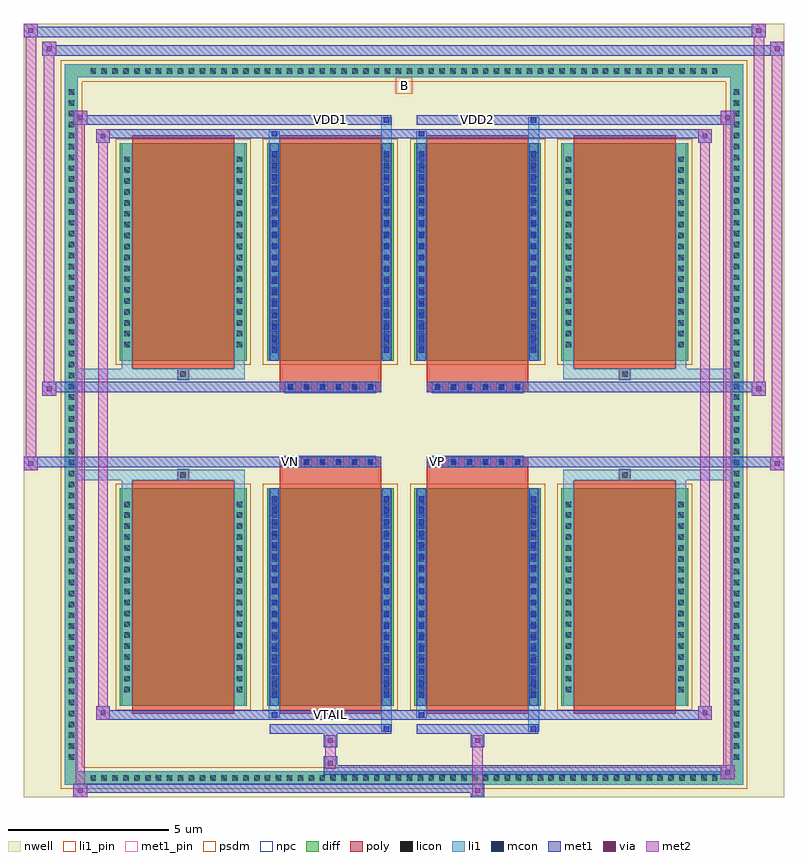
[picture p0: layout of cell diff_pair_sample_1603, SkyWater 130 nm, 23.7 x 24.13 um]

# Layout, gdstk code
import gdstk
lib = gdstk.Library(unit=1e-6, precision=5e-09)
def R(c, l, rs):  # rectangles x0, y0, x1, y1
    for r in rs: c.add(gdstk.rectangle(r[:2], r[2:], *l))
def A(c, l, x, y, w, h, nx, ny, dx, dy):  # array of equal rectangles
    R(c, l, [(x+i*dx, y+j*dy, x+i*dx+w, y+j*dy+h) for i in range(nx) for j in range(ny)])
def P(c, l, *ps):  # polygons
    for p in ps: c.add(gdstk.Polygon(p, *l))
nwell = (64, 20)
diff = (65, 20)
poly = (66, 20)
licon = (66, 44)
li1_pin = (67, 16)
li1 = (67, 20)
mcon = (67, 44)
met1_pin = (68, 16)
met1 = (68, 20)
via = (68, 44)
met2 = (69, 20)
psdm = (94, 20)
npc = (95, 20)

diff_pair_sample_1603 = lib.new_cell('diff_pair_sample_1603')
R(diff_pair_sample_1603, nwell, [(-11.85,-11.63,11.85,12.5), (-9.17,-9.82,-0.01,-0.8), (0.01,-9.82,9.17,-0.8), (-9.17,0.8,-0.01,9.82), (0.01,0.8,9.17,9.82)])
A(diff_pair_sample_1603, diff, -9.895, -11.23, 0.41, 0.41, 58, 2, 0.34, 22.05)
A(diff_pair_sample_1603, diff, -10.58, -10.575, 0.41, 0.41, 1, 62, 0, 0.34)
A(diff_pair_sample_1603, diff, 10.17, -10.575, 0.41, 0.41, 1, 62, 0, 0.34)
A(diff_pair_sample_1603, diff, -8.86, -8.775, 3.95, 6.79, 4, 2, 4.59, 10.76)
R(diff_pair_sample_1603, diff, [(-9.895,-11.23,9.895,-10.82), (-10.58,-10.575,-10.17,10.575), (10.17,-10.575,10.58,10.575), (-9.895,10.82,9.895,11.23)])
P(diff_pair_sample_1603, diff, [(10.58,11.23),(-10.58,11.23),(-10.58,-10.82),(-10.17,-10.82),(-10.17,10.82),(10.17,10.82),(10.17,-10.82),(-10.17,-10.82),(-10.58,-10.82),(-10.58,-11.23),(10.58,-11.23)])
A(diff_pair_sample_1603, poly, -8.47, -9.025, 3.17, 7.29, 4, 2, 4.59, 10.76)
A(diff_pair_sample_1603, poly, -3.71, -1.33, 0.33, 0.33, 6, 2, 0.5, 2.33)
A(diff_pair_sample_1603, poly, 0.88, -1.33, 0.33, 0.33, 6, 2, 0.5, 2.33)
R(diff_pair_sample_1603, poly, [(-7.05,-1.735,-6.72,-1.405), (-7.05,-1.735,-6.72,-1.405), (-3.88,-1.735,-0.71,-1.33), (0.71,-1.735,3.88,-1.33), (6.72,-1.735,7.05,-1.405), (6.72,-1.735,7.05,-1.405), (-3.88,-1.33,-0.71,-1), (0.71,-1.33,3.88,-1), (-3.88,1,-0.71,1.33), (0.71,1,3.88,1.33), (-3.88,1.33,-0.71,1.735), (0.71,1.33,3.88,1.735), (-7.05,1.405,-6.72,1.735), (-7.05,1.405,-6.72,1.735), (6.72,1.405,7.05,1.735), (6.72,1.405,7.05,1.735)])
A(diff_pair_sample_1603, licon, -9.775, -11.11, 0.17, 0.17, 58, 2, 0.34, 22.05)
A(diff_pair_sample_1603, licon, -10.46, -10.455, 0.17, 0.17, 1, 62, 0, 0.34)
A(diff_pair_sample_1603, licon, 10.29, -10.455, 0.17, 0.17, 1, 62, 0, 0.34)
A(diff_pair_sample_1603, licon, -8.72, -8.355, 0.17, 0.17, 1, 18, 0, 0.34)
A(diff_pair_sample_1603, licon, -5.22, -8.355, 0.17, 0.17, 1, 18, 0, 0.34)
A(diff_pair_sample_1603, licon, -4.13, -8.355, 0.17, 0.17, 1, 18, 0, 0.34)
A(diff_pair_sample_1603, licon, -0.63, -8.355, 0.17, 0.17, 1, 18, 0, 0.34)
A(diff_pair_sample_1603, licon, 0.46, -8.355, 0.17, 0.17, 1, 18, 0, 0.34)
A(diff_pair_sample_1603, licon, 3.96, -8.355, 0.17, 0.17, 1, 18, 0, 0.34)
A(diff_pair_sample_1603, licon, 5.05, -8.355, 0.17, 0.17, 1, 18, 0, 0.34)
A(diff_pair_sample_1603, licon, 8.55, -8.355, 0.17, 0.17, 1, 18, 0, 0.34)
A(diff_pair_sample_1603, licon, -3.63, -1.25, 0.17, 0.17, 6, 2, 0.5, 2.33)
A(diff_pair_sample_1603, licon, 0.96, -1.25, 0.17, 0.17, 6, 2, 0.5, 2.33)
A(diff_pair_sample_1603, licon, -8.72, 2.405, 0.17, 0.17, 1, 18, 0, 0.34)
A(diff_pair_sample_1603, licon, -5.22, 2.405, 0.17, 0.17, 1, 18, 0, 0.34)
A(diff_pair_sample_1603, licon, -4.13, 2.405, 0.17, 0.17, 1, 18, 0, 0.34)
A(diff_pair_sample_1603, licon, -0.63, 2.405, 0.17, 0.17, 1, 18, 0, 0.34)
A(diff_pair_sample_1603, licon, 0.46, 2.405, 0.17, 0.17, 1, 18, 0, 0.34)
A(diff_pair_sample_1603, licon, 3.96, 2.405, 0.17, 0.17, 1, 18, 0, 0.34)
A(diff_pair_sample_1603, licon, 5.05, 2.405, 0.17, 0.17, 1, 18, 0, 0.34)
A(diff_pair_sample_1603, licon, 8.55, 2.405, 0.17, 0.17, 1, 18, 0, 0.34)
R(diff_pair_sample_1603, licon, [(-6.97,-1.655,-6.8,-1.485), (6.8,-1.655,6.97,-1.485), (-6.97,1.485,-6.8,1.655), (6.8,1.485,6.97,1.655)])
R(diff_pair_sample_1603, li1_pin, [(-0.25,10.32,0.25,10.82)])
A(diff_pair_sample_1603, li1, -9.855, -11.19, 0.33, 0.33, 58, 2, 0.34, 22.05)
A(diff_pair_sample_1603, li1, -10.54, -10.535, 0.33, 0.33, 1, 62, 0, 0.34)
A(diff_pair_sample_1603, li1, 10.21, -10.535, 0.33, 0.33, 1, 62, 0, 0.34)
A(diff_pair_sample_1603, li1, -4.13, -8.525, 0.17, 0.17, 1, 18, 0, 0.36)
A(diff_pair_sample_1603, li1, -0.63, -8.525, 0.17, 0.17, 1, 18, 0, 0.36)
A(diff_pair_sample_1603, li1, 0.46, -8.525, 0.17, 0.17, 1, 18, 0, 0.36)
A(diff_pair_sample_1603, li1, 3.96, -8.525, 0.17, 0.17, 1, 18, 0, 0.36)
A(diff_pair_sample_1603, li1, -8.8, -8.435, 0.33, 0.33, 1, 18, 0, 0.34)
A(diff_pair_sample_1603, li1, -5.3, -8.435, 0.33, 0.33, 1, 18, 0, 0.34)
A(diff_pair_sample_1603, li1, -4.21, -8.435, 0.33, 0.33, 1, 18, 0, 0.34)
A(diff_pair_sample_1603, li1, -0.71, -8.435, 0.33, 0.33, 1, 18, 0, 0.34)
A(diff_pair_sample_1603, li1, 0.38, -8.435, 0.33, 0.33, 1, 18, 0, 0.34)
A(diff_pair_sample_1603, li1, 3.88, -8.435, 0.33, 0.33, 1, 18, 0, 0.34)
A(diff_pair_sample_1603, li1, 4.97, -8.435, 0.33, 0.33, 1, 18, 0, 0.34)
A(diff_pair_sample_1603, li1, 8.47, -8.435, 0.33, 0.33, 1, 18, 0, 0.34)
A(diff_pair_sample_1603, li1, -3.71, -1.33, 0.33, 0.33, 6, 2, 0.5, 2.33)
A(diff_pair_sample_1603, li1, 0.88, -1.33, 0.33, 0.33, 6, 2, 0.5, 2.33)
A(diff_pair_sample_1603, li1, -4.13, 2.235, 0.17, 0.17, 1, 18, 0, 0.36)
A(diff_pair_sample_1603, li1, -0.63, 2.235, 0.17, 0.17, 1, 18, 0, 0.36)
A(diff_pair_sample_1603, li1, 0.46, 2.235, 0.17, 0.17, 1, 18, 0, 0.36)
A(diff_pair_sample_1603, li1, 3.96, 2.235, 0.17, 0.17, 1, 18, 0, 0.36)
A(diff_pair_sample_1603, li1, -8.8, 2.325, 0.33, 0.33, 1, 18, 0, 0.34)
A(diff_pair_sample_1603, li1, -5.3, 2.325, 0.33, 0.33, 1, 18, 0, 0.34)
A(diff_pair_sample_1603, li1, -4.21, 2.325, 0.33, 0.33, 1, 18, 0, 0.34)
A(diff_pair_sample_1603, li1, -0.71, 2.325, 0.33, 0.33, 1, 18, 0, 0.34)
A(diff_pair_sample_1603, li1, 0.38, 2.325, 0.33, 0.33, 1, 18, 0, 0.34)
A(diff_pair_sample_1603, li1, 3.88, 2.325, 0.33, 0.33, 1, 18, 0, 0.34)
A(diff_pair_sample_1603, li1, 4.97, 2.325, 0.33, 0.33, 1, 18, 0, 0.34)
A(diff_pair_sample_1603, li1, 8.47, 2.325, 0.33, 0.33, 1, 18, 0, 0.34)
R(diff_pair_sample_1603, li1, [(-10.58,-11.23,-10.17,-10.82), (-10.58,-11.23,-10.17,-10.82), (-10.17,-11.23,10.17,-10.82), (10.17,-11.23,10.58,-10.82), (10.17,-11.23,10.58,-10.82), (-10.58,-10.82,-10.17,10.82), (10.17,-10.82,10.58,10.82), (-0.71,-9.58,-0.38,-8.775), (-0.63,-9.58,-0.46,-9.41), (3.88,-9.58,4.21,-8.775), (3.96,-9.58,4.13,-9.41), (-4.21,-9.15,-3.88,-8.775), (-4.13,-9.15,-3.96,-8.98), (0.38,-9.15,0.71,-8.775), (0.46,-9.15,0.63,-8.98), (-8.8,-8.775,-8.47,-1.985), (-5.3,-8.775,-4.97,-1.985), (-4.21,-8.775,-3.88,-1.985), (-0.71,-8.775,-0.38,-1.985), (0.38,-8.775,0.71,-1.985), (3.88,-8.775,4.21,-1.985), (4.97,-8.775,5.3,-1.985), (8.47,-8.775,8.8,-1.985), (-4.13,-8.525,-3.96,-2.235), (-0.63,-8.525,-0.46,-2.235), (0.46,-8.525,0.63,-2.235), (3.96,-8.525,4.13,-2.235), (-8.8,-1.985,-8.47,-1.405), (-5.3,-1.985,-4.97,-1.405), (4.97,-1.985,5.3,-1.405), (8.47,-1.985,8.8,-1.405), (-10.58,-1.735,-7.05,-1.405), (-8.8,-1.735,-7.05,-1.405), (-7.05,-1.735,-6.72,-1.405), (-6.72,-1.735,-4.97,-1.405), (4.97,-1.735,6.72,-1.405), (6.72,-1.735,7.05,-1.405), (6.72,-1.735,10.58,-1.405), (7.05,-1.735,8.8,-1.405), (-10.58,1.405,-7.05,1.735), (-8.8,1.405,-7.05,1.735), (-8.8,1.405,-8.47,1.985), (-7.05,1.405,-6.72,1.735), (-6.72,1.405,-4.97,1.735), (-5.3,1.405,-4.97,1.985), (4.97,1.405,6.72,1.735), (4.97,1.405,5.3,1.985), (6.72,1.405,7.05,1.735), (6.72,1.405,10.58,1.735), (7.05,1.405,8.8,1.735), (8.47,1.405,8.8,1.985), (-8.8,1.985,-8.47,8.775), (-5.3,1.985,-4.97,8.775), (-4.21,1.985,-3.88,8.775), (-0.71,1.985,-0.38,8.775), (0.38,1.985,0.71,8.775), (3.88,1.985,4.21,8.775), (4.97,1.985,5.3,8.775), (8.47,1.985,8.8,8.775), (-4.13,2.235,-3.96,8.525), (-0.63,2.235,-0.46,8.525), (0.46,2.235,0.63,8.525), (3.96,2.235,4.13,8.525), (-4.21,8.775,-3.88,9.15), (-0.71,8.775,-0.38,9.58), (0.38,8.775,0.71,9.15), (3.88,8.775,4.21,9.58), (-4.13,8.98,-3.96,9.15), (0.46,8.98,0.63,9.15), (-0.63,9.41,-0.46,9.58), (3.96,9.41,4.13,9.58), (-10.58,10.82,-10.17,11.23), (-10.58,10.82,-10.17,11.23), (-10.17,10.82,10.17,11.23), (10.17,10.82,10.58,11.23), (10.17,10.82,10.58,11.23)])
A(diff_pair_sample_1603, mcon, -4.13, -8.525, 0.17, 0.17, 1, 18, 0, 0.36)
A(diff_pair_sample_1603, mcon, -0.63, -8.525, 0.17, 0.17, 1, 18, 0, 0.36)
A(diff_pair_sample_1603, mcon, 0.46, -8.525, 0.17, 0.17, 1, 18, 0, 0.36)
A(diff_pair_sample_1603, mcon, 3.96, -8.525, 0.17, 0.17, 1, 18, 0, 0.36)
A(diff_pair_sample_1603, mcon, -3.63, -1.25, 0.17, 0.17, 6, 2, 0.5, 2.33)
A(diff_pair_sample_1603, mcon, 0.96, -1.25, 0.17, 0.17, 6, 2, 0.5, 2.33)
A(diff_pair_sample_1603, mcon, -4.13, 2.235, 0.17, 0.17, 1, 18, 0, 0.36)
A(diff_pair_sample_1603, mcon, -0.63, 2.235, 0.17, 0.17, 1, 18, 0, 0.36)
A(diff_pair_sample_1603, mcon, 0.46, 2.235, 0.17, 0.17, 1, 18, 0, 0.36)
A(diff_pair_sample_1603, mcon, 3.96, 2.235, 0.17, 0.17, 1, 18, 0, 0.36)
R(diff_pair_sample_1603, mcon, [(-0.63,-9.58,-0.46,-9.41), (3.96,-9.58,4.13,-9.41), (-4.13,-9.15,-3.96,-8.98), (0.46,-9.15,0.63,-8.98), (-4.13,8.98,-3.96,9.15), (0.46,8.98,0.63,9.15), (-0.63,9.41,-0.46,9.58), (3.96,9.41,4.13,9.58)])
R(diff_pair_sample_1603, met1_pin, [(-2.43,-9.19,-2.16,-8.92), (-3.68,-1.29,-3.41,-1.02), (0.91,-1.29,1.18,-1.02), (-2.43,9.37,-2.16,9.64), (2.16,9.37,2.43,9.64)])
A(diff_pair_sample_1603, met1, -4.19, -8.585, 0.29, 0.29, 1, 18, 0, 0.36)
A(diff_pair_sample_1603, met1, -0.69, -8.585, 0.29, 0.29, 1, 18, 0, 0.36)
A(diff_pair_sample_1603, met1, 0.4, -8.585, 0.29, 0.29, 1, 18, 0, 0.36)
A(diff_pair_sample_1603, met1, 3.9, -8.585, 0.29, 0.29, 1, 18, 0, 0.36)
A(diff_pair_sample_1603, met1, -3.69, -1.31, 0.29, 0.29, 6, 2, 0.5, 2.33)
A(diff_pair_sample_1603, met1, 0.9, -1.31, 0.29, 0.29, 6, 2, 0.5, 2.33)
A(diff_pair_sample_1603, met1, -4.19, 2.175, 0.29, 0.29, 1, 18, 0, 0.36)
A(diff_pair_sample_1603, met1, -0.69, 2.175, 0.29, 0.29, 1, 18, 0, 0.36)
A(diff_pair_sample_1603, met1, 0.4, 2.175, 0.29, 0.29, 1, 18, 0, 0.36)
A(diff_pair_sample_1603, met1, 3.9, 2.175, 0.29, 0.29, 1, 18, 0, 0.36)
R(diff_pair_sample_1603, met1, [(-10.31,-11.63,-9.88,-11.2), (2.08,-11.63,2.51,-11.2), (-10.31,-11.49,2.51,-11.2), (9.88,-11.06,10.31,-10.63), (-2.51,-10.92,10.31,-10.63), (-2.51,-10.78,-2.08,-10.35), (-2.51,-10.07,-2.08,-9.64), (2.08,-10.07,2.51,-9.64), (-4.19,-9.64,-0.4,-9.35), (-0.69,-9.64,-0.4,-9.35), (0.4,-9.64,4.19,-9.35), (3.9,-9.64,4.19,-9.35), (-9.6,-9.21,-9.17,-8.78), (-9.6,-9.21,-4.19,-8.92), (-4.19,-9.21,-3.9,-8.92), (-4.19,-9.21,-0.4,-8.92), (-0.4,-9.21,0.4,-8.92), (0.4,-9.21,0.69,-8.92), (0.4,-9.21,4.19,-8.92), (4.19,-9.21,9.6,-8.92), (9.17,-9.21,9.6,-8.78), (-4.19,-8.775,-3.9,-1.985), (-0.69,-8.775,-0.4,-1.985), (0.4,-8.775,0.69,-1.985), (3.9,-8.775,4.19,-1.985), (-11.85,-1.43,-11.42,-1), (11.42,-1.43,11.85,-1), (-11.85,-1.33,-0.71,-1), (-3.88,-1.33,-0.71,-1), (0.71,-1.33,3.88,-1), (0.71,-1.33,11.85,-1), (-11.28,0.9,-10.85,1.33), (10.85,0.9,11.28,1.33), (-11.28,1,-3.88,1.33), (-3.88,1,-0.71,1.33), (0.71,1,3.88,1.33), (3.88,1,11.28,1.33), (-4.19,1.985,-3.9,8.775), (-0.69,1.985,-0.4,8.775), (0.4,1.985,0.69,8.775), (3.9,1.985,4.19,8.775), (-9.6,8.78,-9.17,9.21), (9.17,8.78,9.6,9.21), (-9.6,8.92,-4.19,9.21), (-4.19,8.92,-3.9,9.21), (-4.19,8.92,-0.4,9.21), (-0.4,8.92,0.4,9.21), (0.4,8.92,0.69,9.21), (0.4,8.92,4.19,9.21), (4.19,8.92,9.6,9.21), (-10.31,9.35,-9.88,9.78), (-10.31,9.35,-4.19,9.64), (-4.19,9.35,-0.4,9.64), (-0.69,9.35,-0.4,9.64), (0.4,9.35,4.19,9.64), (3.9,9.35,4.19,9.64), (4.19,9.35,10.31,9.64), (9.88,9.35,10.31,9.78), (-11.28,11.5,-10.85,11.93), (-11.28,11.5,-9.17,11.83), (-9.17,11.5,9.17,11.83), (9.17,11.5,11.85,11.83), (11.42,11.5,11.85,11.93), (-11.85,12.07,-11.42,12.5), (-11.85,12.07,-9.17,12.4), (-9.17,12.07,9.17,12.4), (9.17,12.07,11.28,12.4), (10.85,12.07,11.28,12.5)])
R(diff_pair_sample_1603, via, [(-10.17,-11.49,-10.02,-11.34), (2.22,-11.49,2.37,-11.34), (10.02,-10.92,10.17,-10.77), (-2.37,-10.64,-2.22,-10.49), (-2.37,-9.93,-2.22,-9.78), (2.22,-9.93,2.37,-9.78), (-9.46,-9.07,-9.31,-8.92), (9.31,-9.07,9.46,-8.92), (-11.71,-1.29,-11.56,-1.14), (11.56,-1.29,11.71,-1.14), (-11.14,1.04,-10.99,1.19), (10.99,1.04,11.14,1.19), (-9.46,8.92,-9.31,9.07), (9.31,8.92,9.46,9.07), (-10.17,9.49,-10.02,9.64), (10.02,9.49,10.17,9.64), (-11.14,11.64,-10.99,11.79), (11.56,11.64,11.71,11.79), (-11.71,12.21,-11.56,12.36), (10.99,12.21,11.14,12.36)])
R(diff_pair_sample_1603, met2, [(-10.31,-11.63,-9.88,-11.2), (-10.24,-11.63,-9.95,9.78), (-9.95,-11.63,-9.88,-11.2), (-10.26,-11.58,-9.93,-11.25), (2.13,-11.58,2.46,-11.25), (2.13,-11.25,2.46,-10.02), (9.88,-11.06,10.31,-10.63), (9.95,-11.06,10.24,9.78), (10.24,-11.06,10.31,-10.63), (9.93,-11.01,10.26,-10.68), (-2.46,-10.73,-2.13,-10.4), (-2.46,-10.4,-2.13,-10.02), (-2.46,-10.02,-2.13,-9.69), (2.13,-10.02,2.46,-9.69), (-9.6,-9.21,-9.17,-8.78), (-9.53,-9.21,-9.24,9.21), (-9.24,-9.21,-9.17,-8.78), (9.17,-9.21,9.6,-8.78), (9.24,-9.21,9.53,9.21), (9.53,-9.21,9.6,-8.78), (-9.55,-9.16,-9.22,-8.83), (9.22,-9.16,9.55,-8.83), (-11.85,-1.43,-11.42,-1), (-11.8,-1.43,-11.47,12.5), (-11.47,-1.43,-11.42,-1), (11.42,-1.43,11.85,-1), (11.47,-1.43,11.8,11.93), (11.8,-1.43,11.85,-1), (-11.8,-1.38,-11.47,-1.05), (11.47,-1.38,11.8,-1.05), (-11.28,0.9,-10.85,1.33), (-11.23,0.9,-10.9,11.93), (-10.9,0.9,-10.85,1.33), (10.85,0.9,11.28,1.33), (10.9,0.9,11.23,12.5), (11.23,0.9,11.28,1.33), (-11.23,0.95,-10.9,1.28), (10.9,0.95,11.23,1.28), (-9.6,8.78,-9.17,9.21), (-9.24,8.78,-9.17,9.21), (9.17,8.78,9.6,9.21), (9.53,8.78,9.6,9.21), (-9.55,8.83,-9.22,9.16), (9.22,8.83,9.55,9.16), (-10.31,9.35,-9.88,9.78), (-9.95,9.35,-9.88,9.78), (9.88,9.35,10.31,9.78), (10.24,9.35,10.31,9.78), (-10.26,9.4,-9.93,9.73), (9.93,9.4,10.26,9.73), (-11.28,11.5,-10.85,11.93), (-10.9,11.5,-10.85,11.93), (11.42,11.5,11.85,11.93), (11.8,11.5,11.85,11.93), (-11.23,11.55,-10.9,11.88), (11.47,11.55,11.8,11.88), (-11.85,12.07,-11.42,12.5), (-11.47,12.07,-11.42,12.5), (10.85,12.07,11.28,12.5), (11.23,12.07,11.28,12.5), (-11.8,12.12,-11.47,12.45), (10.9,12.12,11.23,12.45)])
A(diff_pair_sample_1603, psdm, -8.99, -8.905, 4.21, 7.05, 4, 2, 4.59, 10.76)
P(diff_pair_sample_1603, psdm, [(10.71,11.36),(-10.71,11.36),(-10.71,-10.69),(-10.04,-10.69),(-10.04,10.69),(10.04,10.69),(10.04,-10.69),(-10.04,-10.69),(-10.71,-10.69),(-10.71,-11.36),(10.71,-11.36)])
A(diff_pair_sample_1603, npc, -3.73, -1.35, 0.37, 0.37, 6, 2, 0.5, 2.33)
A(diff_pair_sample_1603, npc, 0.86, -1.35, 0.37, 0.37, 6, 2, 0.5, 2.33)
R(diff_pair_sample_1603, npc, [(-7.07,-1.755,-6.7,-1.385), (6.7,-1.755,7.07,-1.385), (-3.73,-1.35,-2.86,-0.98), (-3.73,-1.35,-2.86,-0.98), (-3.23,-1.35,-2.36,-0.98), (-3.23,-1.35,-2.36,-0.98), (-2.73,-1.35,-1.86,-0.98), (-2.73,-1.35,-1.86,-0.98), (-2.23,-1.35,-1.36,-0.98), (-2.23,-1.35,-1.36,-0.98), (-1.73,-1.35,-0.86,-0.98), (-1.73,-1.35,-0.86,-0.98), (0.86,-1.35,1.73,-0.98), (0.86,-1.35,1.73,-0.98), (1.36,-1.35,2.23,-0.98), (1.36,-1.35,2.23,-0.98), (1.86,-1.35,2.73,-0.98), (1.86,-1.35,2.73,-0.98), (2.36,-1.35,3.23,-0.98), (2.36,-1.35,3.23,-0.98), (2.86,-1.35,3.73,-0.98), (2.86,-1.35,3.73,-0.98), (-3.73,0.98,-2.86,1.35), (-3.73,0.98,-2.86,1.35), (-3.23,0.98,-2.36,1.35), (-3.23,0.98,-2.36,1.35), (-2.73,0.98,-1.86,1.35), (-2.73,0.98,-1.86,1.35), (-2.23,0.98,-1.36,1.35), (-2.23,0.98,-1.36,1.35), (-1.73,0.98,-0.86,1.35), (-1.73,0.98,-0.86,1.35), (0.86,0.98,1.73,1.35), (0.86,0.98,1.73,1.35), (1.36,0.98,2.23,1.35), (1.36,0.98,2.23,1.35), (1.86,0.98,2.73,1.35), (1.86,0.98,2.73,1.35), (2.36,0.98,3.23,1.35), (2.36,0.98,3.23,1.35), (2.86,0.98,3.73,1.35), (2.86,0.98,3.73,1.35), (-7.07,1.385,-6.7,1.755), (6.7,1.385,7.07,1.755)])
diff_pair_sample_1603.add(gdstk.Label('VTAIL', (-2.295,-9.055), layer=68, texttype=5))
diff_pair_sample_1603.add(gdstk.Label('VN', (-3.545,-1.155), layer=68, texttype=5))
diff_pair_sample_1603.add(gdstk.Label('VP', (1.045,-1.155), layer=68, texttype=5))
diff_pair_sample_1603.add(gdstk.Label('B', (0,10.57), layer=67, texttype=5))
diff_pair_sample_1603.add(gdstk.Label('VDD2', (2.295,9.505), layer=68, texttype=5))
diff_pair_sample_1603.add(gdstk.Label('VDD1', (-2.295,9.505), layer=68, texttype=5))

lib.write_gds('diff_pair_sample_1603.gds')
